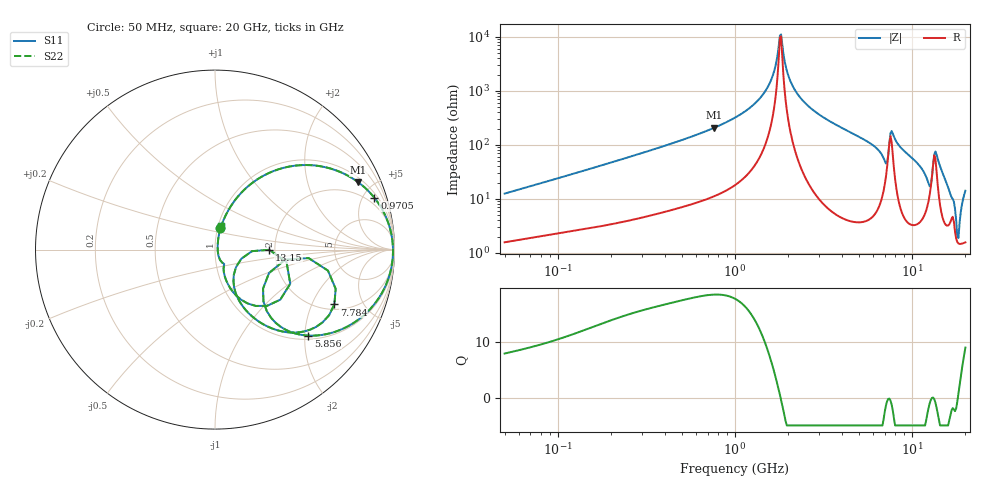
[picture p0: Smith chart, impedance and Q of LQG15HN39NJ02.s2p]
!Murata Part Number: LQG15HN39NJ02
!These Parameters are Measured in Series Mode Connection
!  o--[Z]--o
!Port1  Port2
!  o-------o
!Freq. Start=50[MHz] Stop=20[GHz], 401[Steps]
# Hz S RI R 50
!Freq.(Hz) S11(Real) S11(Imag) S21(Real) S21(Imag) S12(Real) S12(Imag) S22(Real) S22(Imag)
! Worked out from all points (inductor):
!   401 points, 50 MHz to 20 GHz, reference 50 ohm
!   read as one part in series: L = 38.9 nH near 51.52 MHz
!   highest Q = 18.5 at 763.7 MHz (marker M1), where L = 43.1 nH
!   self-resonance near 1.793 GHz
!   S11 on the Smith chart (normalised r, x): 50 MHz: 1.03, +0.25; 970.5 MHz: 1.34, +6.02; 5.856 GHz: 1.09, -2.09; 7.784 GHz: 2.26, -2.97; 13.15 GHz: 1.87, -0.00; 20 GHz: 1.03, +0.28
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5e7  0.03 0.1186  0.97 -0.1186  0.97 -0.1186  0.03 0.1186
1.364002e8  0.1141 0.2788  0.8859 -0.2788  0.8859 -0.2788  0.1141 0.2788
3.721004e8  0.4437 0.4673  0.5563 -0.4673  0.5563 -0.4673  0.4437 0.4673
7.636728e8  0.7984 0.3751  0.2016 -0.3751  0.2016 -0.3751  0.7984 0.3751
9.70487e8  0.8881 0.2886  0.1119 -0.2886  0.1119 -0.2886  0.8881 0.2886
1e9  0.8975 0.2764  0.1025 -0.2764  0.1025 -0.2764  0.8975 0.2764
1.498439e9  0.9811 0.0928  0.0189 -0.0928  0.0189 -0.0928  0.9811 0.0928
1.820564e9  0.9917 -0.00343  0.00831 0.00343  0.00831 0.00343  0.9917 -0.00343
2.083303e9  0.9873 -0.0713  0.0127 0.0713  0.0127 0.0713  0.9873 -0.0713
2.728004e9  0.9475 -0.2074  0.0525 0.2074  0.0525 0.2074  0.9475 -0.2074
5.856089e9  0.5209 -0.4791  0.4791 0.4791  0.4791 0.4791  0.5209 -0.4791
7.009217e9  0.2699 -0.2888  0.7301 0.2888  0.7301 0.2888  0.2699 -0.2888
7.442007e9  0.5213 -0.047  0.4787 0.047  0.4787 0.047  0.5213 -0.047
7.784049e9  0.665 -0.3055  0.335 0.3055  0.335 0.3055  0.665 -0.3055
8.774992e9  0.4193 -0.4619  0.5807 0.4619  0.5807 0.4619  0.4193 -0.4619
1.149051e10  0.132 -0.2799  0.868 0.2799  0.868 0.2799  0.132 -0.2799
1.257102e10  0.117 -0.0977  0.883 0.0977  0.883 0.0977  0.117 -0.0977
1.314879e10  0.3022 -0.00117  0.6978 0.00117  0.6978 0.00117  0.3022 -0.00117
1.460232e10  0.1464 -0.2798  0.8536 0.2798  0.8536 0.2798  0.1464 -0.2798
1.696185e10  0.0513 -0.08  0.9487 0.08  0.9487 0.08  0.0513 -0.08
1.800918e10  0.0157 -0.0109  0.9843 0.0109  0.9843 0.0109  0.0157 -0.0109
2e10  0.0339 0.1337  0.9661 -0.1337  0.9661 -0.1337  0.0339 0.1337
